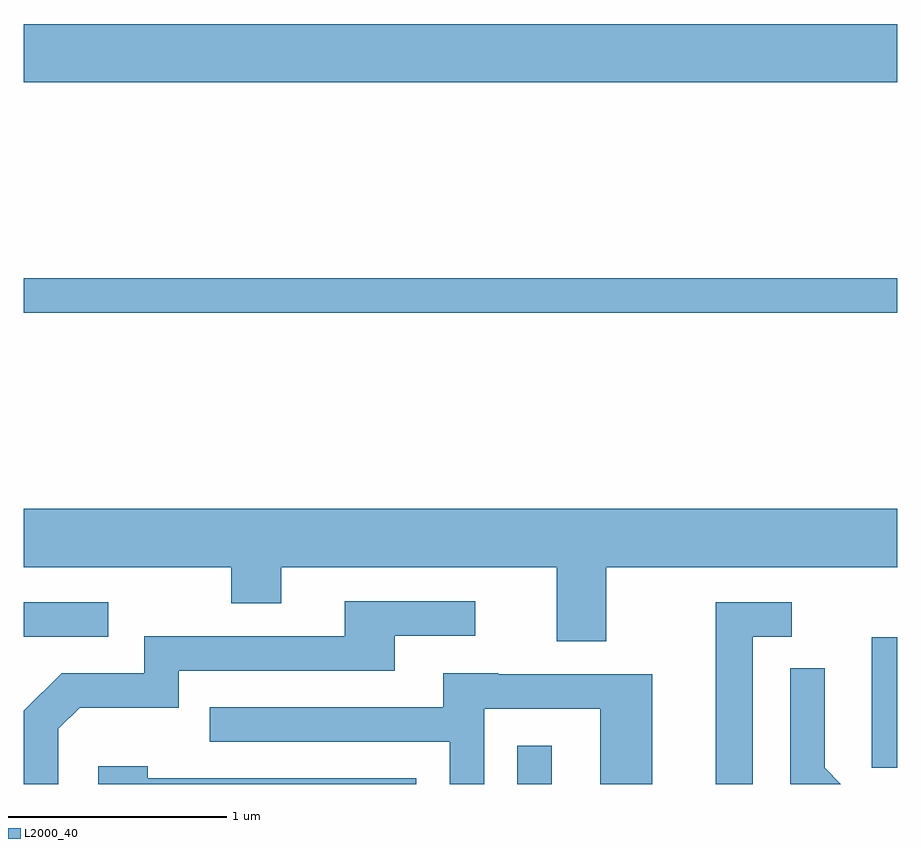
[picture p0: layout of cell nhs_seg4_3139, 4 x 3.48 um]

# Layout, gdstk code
import gdstk
lib = gdstk.Library(unit=1e-6, precision=1e-09)
def R(c, l, rs):  # rectangles x0, y0, x1, y1
    for r in rs: c.add(gdstk.rectangle(r[:2], r[2:], *l))
def P(c, l, *ps):  # polygons
    for p in ps: c.add(gdstk.Polygon(p, *l))
L2000_40 = (2000, 40)

nhs_seg4_3139 = lib.new_cell('nhs_seg4_3139')
R(nhs_seg4_3139, L2000_40, [(279.871,1275.982,280.029,1276.158), (281.496,1276.056,281.611,1276.654), (277.611,1276.656,277.998,1276.814), (277.611,1278.141,281.611,1278.299), (277.611,1279.196,281.611,1279.464)])
P(nhs_seg4_3139, L2000_40, [(280.279,1276.976),(281.611,1276.976),(281.611,1277.244),(277.611,1277.244),(277.611,1276.976),(278.561,1276.976),(278.561,1276.811),(278.789,1276.811),(278.789,1276.976),(280.051,1276.976),(280.051,1276.636),(280.279,1276.636)],
  [(277.769,1276.234),(277.867,1276.331),(278.319,1276.331),(278.319,1276.501),(279.309,1276.501),(279.309,1276.661),(279.678,1276.661),(279.678,1276.819),(279.081,1276.819),(279.081,1276.659),(278.161,1276.659),(278.161,1276.489),(277.784,1276.489),(277.611,1276.317),(277.611,1275.982),(277.769,1275.982)],
  [(280.949,1276.656),(281.128,1276.656),(281.128,1276.814),(280.781,1276.814),(280.781,1275.982),(280.949,1275.982)],
  [(281.279,1276.057),(281.279,1276.513),(281.121,1276.513),(281.121,1275.984),(281.123,1275.982),(281.354,1275.982)],
  [(279.719,1276.326),(280.251,1276.326),(280.251,1275.982),(280.489,1275.982),(280.489,1276.484),(279.785,1276.484),(279.785,1276.489),(279.531,1276.489),(279.531,1276.334),(278.463,1276.334),(278.463,1276.176),(279.561,1276.176),(279.561,1275.982),(279.719,1275.982)],
  [(279.409,1276.009),(278.179,1276.009),(278.179,1276.064),(277.951,1276.064),(277.951,1275.982),(279.409,1275.982)])

lib.write_gds('nhs_seg4_3139.gds')
